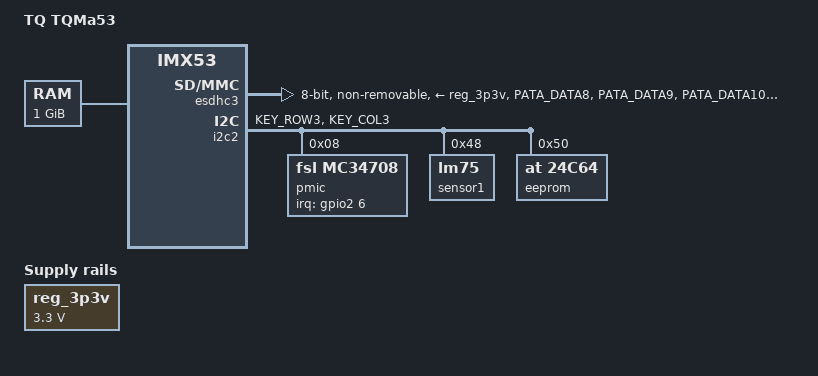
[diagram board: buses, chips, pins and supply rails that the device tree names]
/*
 * Copyright 2012 Sascha Hauer <s.hauer@pengutronix.de>, Pengutronix
 * Copyright 2012 Steffen Trumtrar <s.trumtrar@pengutronix.de>, Pengutronix
 *
 * The code contained herein is licensed under the GNU General Public
 * License. You may obtain a copy of the GNU General Public License
 * Version 2 or later at the following locations:
 *
 * http://www.opensource.org/licenses/gpl-license.html
 * http://www.gnu.org/copyleft/gpl.html
 */

#include "imx53.dtsi"

/ {
	model = "TQ TQMa53";
	compatible = "tq,tqma53", "fsl,imx53";

	memory {
		reg = <0x70000000 0x40000000>; /* Up to 1GiB */
	};

	regulators {
		compatible = "simple-bus";
		#address-cells = <1>;
		#size-cells = <0>;

		reg_3p3v: regulator@0 {
			compatible = "regulator-fixed";
			reg = <0>;
			regulator-name = "3P3V";
			regulator-min-microvolt = <3300000>;
			regulator-max-microvolt = <3300000>;
			regulator-always-on;
		};
	};
};

&esdhc2 {
	pinctrl-names = "default";
	pinctrl-0 = <&pinctrl_esdhc2>,
		    <&pinctrl_esdhc2_cdwp>;
	vmmc-supply = <&reg_3p3v>;
	wp-gpios = <&gpio1 2 GPIO_ACTIVE_HIGH>;
	cd-gpios = <&gpio1 4 GPIO_ACTIVE_LOW>;
	status = "disabled";
};

&uart3 {
	pinctrl-names = "default";
	pinctrl-0 = <&pinctrl_uart3>;
	status = "disabled";
};

&ecspi1 {
	pinctrl-names = "default";
	pinctrl-0 = <&pinctrl_ecspi1>;
	fsl,spi-num-chipselects = <4>;
	cs-gpios = <&gpio2 30 0>, <&gpio3 19 0>,
		   <&gpio3 24 0>, <&gpio3 25 0>;
	status = "disabled";
};

&esdhc3 { /* EMMC */
	pinctrl-names = "default";
	pinctrl-0 = <&pinctrl_esdhc3>;
	vmmc-supply = <&reg_3p3v>;
	non-removable;
	bus-width = <8>;
	status = "okay";
};

&iomuxc {
	pinctrl-names = "default";
	pinctrl-0 = <&pinctrl_hog>;

	imx53-tqma53 {
		pinctrl_hog: hoggrp {
			fsl,pins = <
				 MX53_PAD_GPIO_0__CCM_SSI_EXT1_CLK 0x80000000 /* SSI_MCLK */
				 MX53_PAD_PATA_DA_1__GPIO7_7     0x80000000 /* LCD_BLT_EN */
				 MX53_PAD_PATA_DA_2__GPIO7_8     0x80000000 /* LCD_RESET */
				 MX53_PAD_PATA_DATA5__GPIO2_5    0x80000000 /* LCD_POWER */
				 MX53_PAD_PATA_DATA6__GPIO2_6    0x80000000 /* PMIC_INT */
				 MX53_PAD_PATA_DATA14__GPIO2_14  0x80000000 /* CSI_RST */
				 MX53_PAD_PATA_DATA15__GPIO2_15  0x80000000 /* CSI_PWDN */
				 MX53_PAD_GPIO_19__GPIO4_5 	 0x80000000 /* #SYSTEM_DOWN */
				 MX53_PAD_GPIO_3__GPIO1_3        0x80000000
				 MX53_PAD_PATA_DA_0__GPIO7_6	 0x80000000 /* #PHY_RESET */
				 MX53_PAD_GPIO_1__PWM2_PWMO	 0x80000000 /* LCD_CONTRAST */
			>;
		};

		pinctrl_audmux: audmuxgrp {
			fsl,pins = <
				MX53_PAD_KEY_COL0__AUDMUX_AUD5_TXC	0x80000000
				MX53_PAD_KEY_ROW0__AUDMUX_AUD5_TXD	0x80000000
				MX53_PAD_KEY_COL1__AUDMUX_AUD5_TXFS	0x80000000
				MX53_PAD_KEY_ROW1__AUDMUX_AUD5_RXD	0x80000000
			>;
		};

		pinctrl_can1: can1grp {
			fsl,pins = <
				MX53_PAD_KEY_COL2__CAN1_TXCAN		0x80000000
				MX53_PAD_KEY_ROW2__CAN1_RXCAN		0x80000000
			>;
		};

		pinctrl_can2: can2grp {
			fsl,pins = <
				MX53_PAD_KEY_COL4__CAN2_TXCAN		0x80000000
				MX53_PAD_KEY_ROW4__CAN2_RXCAN		0x80000000
			>;
		};

		pinctrl_cspi: cspigrp {
			fsl,pins = <
				MX53_PAD_SD1_DATA0__CSPI_MISO		0x1d5
				MX53_PAD_SD1_CMD__CSPI_MOSI		0x1d5
				MX53_PAD_SD1_CLK__CSPI_SCLK		0x1d5
			>;
		};

		pinctrl_ecspi1: ecspi1grp {
			fsl,pins = <
				MX53_PAD_EIM_D16__ECSPI1_SCLK		0x80000000
				MX53_PAD_EIM_D17__ECSPI1_MISO		0x80000000
				MX53_PAD_EIM_D18__ECSPI1_MOSI		0x80000000
			>;
		};

		pinctrl_esdhc2: esdhc2grp {
			fsl,pins = <
				MX53_PAD_SD2_CMD__ESDHC2_CMD		0x1d5
				MX53_PAD_SD2_CLK__ESDHC2_CLK		0x1d5
				MX53_PAD_SD2_DATA0__ESDHC2_DAT0		0x1d5
				MX53_PAD_SD2_DATA1__ESDHC2_DAT1		0x1d5
				MX53_PAD_SD2_DATA2__ESDHC2_DAT2		0x1d5
				MX53_PAD_SD2_DATA3__ESDHC2_DAT3		0x1d5
			>;
		};

		pinctrl_esdhc2_cdwp: esdhc2cdwp {
			fsl,pins = <
				MX53_PAD_GPIO_4__GPIO1_4	0x80000000 /* SD2_CD */
				MX53_PAD_GPIO_2__GPIO1_2	0x80000000 /* SD2_WP */
			>;
		};

		pinctrl_esdhc3: esdhc3grp {
			fsl,pins = <
				MX53_PAD_PATA_DATA8__ESDHC3_DAT0	0x1d5
				MX53_PAD_PATA_DATA9__ESDHC3_DAT1	0x1d5
				MX53_PAD_PATA_DATA10__ESDHC3_DAT2	0x1d5
				MX53_PAD_PATA_DATA11__ESDHC3_DAT3	0x1d5
				MX53_PAD_PATA_DATA0__ESDHC3_DAT4	0x1d5
				MX53_PAD_PATA_DATA1__ESDHC3_DAT5	0x1d5
				MX53_PAD_PATA_DATA2__ESDHC3_DAT6	0x1d5
				MX53_PAD_PATA_DATA3__ESDHC3_DAT7	0x1d5
				MX53_PAD_PATA_RESET_B__ESDHC3_CMD	0x1d5
				MX53_PAD_PATA_IORDY__ESDHC3_CLK		0x1d5
			>;
		};

		pinctrl_fec: fecgrp {
			fsl,pins = <
				MX53_PAD_FEC_MDC__FEC_MDC		0x80000000
				MX53_PAD_FEC_MDIO__FEC_MDIO		0x80000000
				MX53_PAD_FEC_REF_CLK__FEC_TX_CLK	0x80000000
				MX53_PAD_FEC_RX_ER__FEC_RX_ER		0x80000000
				MX53_PAD_FEC_CRS_DV__FEC_RX_DV		0x80000000
				MX53_PAD_FEC_RXD1__FEC_RDATA_1		0x80000000
				MX53_PAD_FEC_RXD0__FEC_RDATA_0		0x80000000
				MX53_PAD_FEC_TX_EN__FEC_TX_EN		0x80000000
				MX53_PAD_FEC_TXD1__FEC_TDATA_1		0x80000000
				MX53_PAD_FEC_TXD0__FEC_TDATA_0		0x80000000
			>;
		};

		pinctrl_i2c2: i2c2grp {
			fsl,pins = <
				MX53_PAD_KEY_ROW3__I2C2_SDA		0xc0000000
				MX53_PAD_KEY_COL3__I2C2_SCL		0xc0000000
			>;
		};

		pinctrl_i2c3: i2c3grp {
			fsl,pins = <
				MX53_PAD_GPIO_6__I2C3_SDA		0xc0000000
				MX53_PAD_GPIO_5__I2C3_SCL		0xc0000000
			>;
		};

		pinctrl_uart1: uart1grp {
			fsl,pins = <
				MX53_PAD_PATA_DIOW__UART1_TXD_MUX	0x1e4
				MX53_PAD_PATA_DMACK__UART1_RXD_MUX	0x1e4
			>;
		};

		pinctrl_uart2: uart2grp {
			fsl,pins = <
				MX53_PAD_PATA_BUFFER_EN__UART2_RXD_MUX	0x1e4
				MX53_PAD_PATA_DMARQ__UART2_TXD_MUX	0x1e4
			>;
		};

		pinctrl_uart3: uart3grp {
			fsl,pins = <
				MX53_PAD_PATA_CS_0__UART3_TXD_MUX	0x1e4
				MX53_PAD_PATA_CS_1__UART3_RXD_MUX	0x1e4
			>;
		};
	};
};

&uart1 {
	pinctrl-names = "default";
	pinctrl-0 = <&pinctrl_uart1>;
	uart-has-rtscts;
	status = "disabled";
};

&uart2 {
	pinctrl-names = "default";
	pinctrl-0 = <&pinctrl_uart2>;
	status = "disabled";
};

&can1 {
	pinctrl-names = "default";
	pinctrl-0 = <&pinctrl_can1>;
	status = "disabled";
};

&can2 {
	pinctrl-names = "default";
	pinctrl-0 = <&pinctrl_can2>;
	status = "disabled";
};

&i2c3 {
	pinctrl-names = "default";
	pinctrl-0 = <&pinctrl_i2c3>;
	status = "disabled";
};

&cspi {
	pinctrl-names = "default";
	pinctrl-0 = <&pinctrl_cspi>;
	fsl,spi-num-chipselects = <3>;
	cs-gpios = <&gpio1 18 0>, <&gpio1 19 0>,
		   <&gpio1 21 0>;
	status = "disabled";
};

&i2c2 {
	pinctrl-names = "default";
	pinctrl-0 = <&pinctrl_i2c2>;
	status = "okay";

	pmic: mc34708@8 {
		compatible = "fsl,mc34708";
		reg = <0x8>;
		fsl,mc13xxx-uses-rtc;
		interrupt-parent = <&gpio2>;
		interrupts = <6 4>; /* PATA_DATA6, active high */
	};

	sensor1: lm75@48 {
		compatible = "lm75";
		reg = <0x48>;
	};

	eeprom: 24c64@50 {
		compatible = "at,24c64";
		pagesize = <32>;
		reg = <0x50>;
	};
};

&fec {
	pinctrl-names = "default";
	pinctrl-0 = <&pinctrl_fec>;
	phy-mode = "rmii";
	status = "disabled";
};
